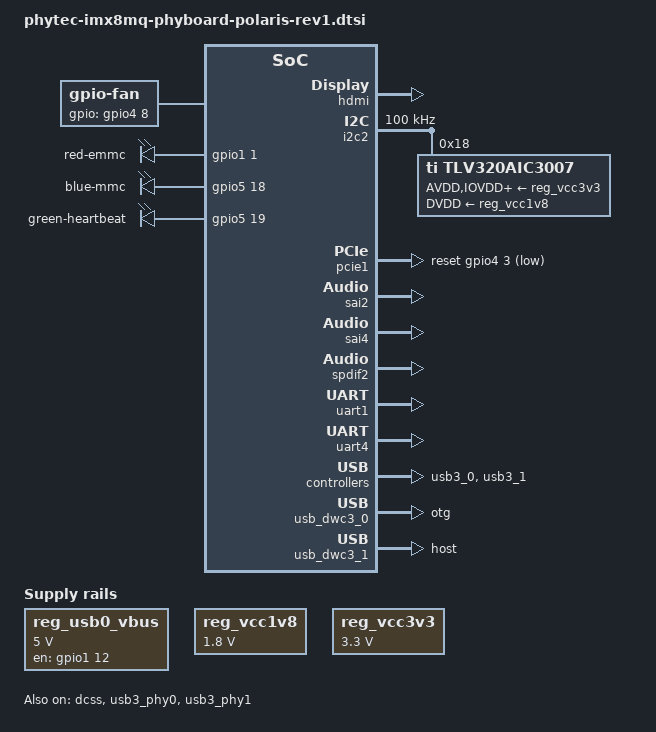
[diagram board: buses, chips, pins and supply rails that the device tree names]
/*
 * Copyright (C) 2018 PHYTEC Messtechnik GmbH
 * Author: Christian Hemp <c.hemp@phytec.de>
 *
 * This program is free software; you can redistribute it and/or
 * modify it under the terms of the GNU General Public License
 * as published by the Free Software Foundation; either version 2
 * of the License, or (at your option) any later version.
 *
 * This program is distributed in the hope that it will be useful,
 * but WITHOUT ANY WARRANTY; without even the implied warranty of
 * MERCHANTABILITY or FITNESS FOR A PARTICULAR PURPOSE.  See the
 * GNU General Public License for more details.
 */

/ {
	fan: gpio_fan {
		compatible = "gpio-fan";
		gpios =  <&gpio4 8 GPIO_ACTIVE_HIGH>;
		gpio-fan,speed-map = <0     0
				      13000 1>;
		#cooling-cells = <2>;
	};

	leds {
		compatible = "gpio-leds";
		pinctrl-names = "default";
		pinctrl-0 = <&pinctrl_leds>;

		led-red {
			label = "red-emmc";
			gpios = <&gpio1 1 GPIO_ACTIVE_HIGH>;
			linux,default-trigger = "mmc0";
		};

		led-blue {
			label = "blue-mmc";
			gpios = <&gpio5 18 GPIO_ACTIVE_HIGH>;
			linux,default-trigger = "mmc1";
		};

		led-green {
			label = "green-heartbeat";
			gpios = <&gpio5 19 GPIO_ACTIVE_HIGH>;
			linux,default-trigger = "heartbeat";
		};
	};

	reg_usb0_vbus: usb0-vbus {
		compatible = "regulator-fixed";
		regulator-name = "usb0-vbus";
		regulator-min-microvolt = <5000000>;
		regulator-max-microvolt = <5000000>;
		enable-active-high;
		pinctrl-names = "default";
		pinctrl-0 = <&pinctrl_usb0_vbusen>;
		gpio = <&gpio1 12 GPIO_ACTIVE_HIGH>;
		status = "okay";
	};

	reg_vcc1v8: vcc1v8 {
		compatible = "regulator-fixed";
		regulator-name = "vcc1v8";
		regulator-min-microvolt = <1800000>;
		regulator-max-microvolt = <1800000>;
		regulator-always-on;
	};

	reg_vcc3v3: vcc3v3 {
		compatible = "regulator-fixed";
		regulator-name = "vcc3v3";
		regulator-min-microvolt = <3300000>;
		regulator-max-microvolt = <3300000>;
		regulator-always-on;
	};

	thermal-zones {
		/* fan thermal */
		fan-thermal {
			polling-delay-passive = <250>;
			polling-delay = <2000>;
			thermal-sensors = <&tmu 1>;
			trips {
				fan_fan0: trip0 {
				temperature = <70000>;
				hysteresis = <5000>;
				type = "active";
				};
			};

			cooling-maps {
				map0 {
					trip = <&fan_fan0>;
					cooling-device =
						<&fan
						 THERMAL_NO_LIMIT
						 THERMAL_NO_LIMIT>;
				};
			};
		};
	};

	sound {
		compatible = "simple-audio-card";
		simple-audio-card,name = "TLV320AIC3007";
		simple-audio-card,format = "i2s";
		simple-audio-card,bitclock-master = <&dailink_master>;
		simple-audio-card,frame-master = <&dailink_master>;
		simple-audio-card,widgets =
				"Microphone", "Mic Jack",
				"Line", "Line In",
				"Line", "Line Out",
				"Speaker", "Speaker",
				"Headphone", "Headphone Jack";
		simple-audio-card,routing =
				"Line Out", "LLOUT",
				"Line Out", "RLOUT",
				"Speaker", "SPOP",
				"Speaker", "SPOM",
				"Headphone Jack", "HPLOUT",
				"Headphone Jack", "HPROUT",
				"MIC3L", "Mic Jack",
				"MIC3R", "Mic Jack",
				"Mic Jack", "Mic Bias",
				"LINE1L", "Line In",
				"LINE1R", "Line In";
		status = "okay";

		dailink_master: simple-audio-card,cpu {
				sound-dai = <&sai2>;
		};
		simple-audio-card,codec {
				sound-dai = <&tlv320aic3007>;
		};
	};

	sound-hdmi {
		compatible = "fsl,imx8mq-evk-cdnhdmi",
				"fsl,imx-audio-cdnhdmi";
		model = "imx-audio-hdmi";
		audio-cpu = <&sai4>;
		protocol = <1>;
		hdmi-out;
		constraint-rate = <44100>,
				<88200>,
				<176400>,
				<32000>,
				<48000>,
				<96000>,
				<192000>;
	};

	sound-hdmi-arc {
		compatible = "fsl,imx-audio-spdif";
		model = "imx-hdmi-arc";
		spdif-controller = <&spdif2>;
		spdif-in;
	};
};

&clk {
	assigned-clocks = <&clk IMX8MQ_AUDIO_PLL1>, <&clk IMX8MQ_AUDIO_PLL2>;
	assigned-clock-rates = <786432000>, <722534400>;
};

&dcss {
	disp-dev = "hdmi_disp";
	status = "okay";
};

&hdmi {
	status = "okay";
};

&i2c2 {
	clock-frequency = <100000>;
	pinctrl-names = "default";
	pinctrl-0 = <&pinctrl_i2c2>;
	status = "okay";

	tlv320aic3007: tlv320aic3007@18 {
			compatible = "ti,tlv320aic3007";
			#sound-dai-cells = <0>;
			reg = <0x18>;
			clocks = <&clk IMX8MQ_SYS2_PLL_50M>;
			AVDD-supply = <&reg_vcc3v3>;
			IOVDD-supply = <&reg_vcc3v3>;
			DRVDD-supply = <&reg_vcc3v3>;
			DVDD-supply = <&reg_vcc1v8>;
	};

};

&pcie1 {
	pinctrl-names = "default";
	pinctrl-0 = <&pinctrl_pcie1>;
	clkreq-gpio = <&gpio4 2 GPIO_ACTIVE_LOW>;
	reset-gpio = <&gpio4 3 GPIO_ACTIVE_LOW>;
	ext_osc = <1>;
	status = "okay";
};

&sai2 {
	pinctrl-names = "default";
	#sound-dai-cells = <0>;
	pinctrl-0 = <&pinctrl_sai2>;
	assigned-clocks = <&clk IMX8MQ_CLK_SAI2>;
	assigned-clock-parents = <&clk IMX8MQ_AUDIO_PLL1_OUT>;
	assigned-clock-rates = <49152000>;
	clocks = <&clk IMX8MQ_CLK_SAI2_IPG>, <&clk IMX8MQ_CLK_DUMMY>,
		<&clk IMX8MQ_CLK_SAI2_ROOT>, <&clk IMX8MQ_CLK_DUMMY>,
		<&clk IMX8MQ_CLK_DUMMY>, <&clk IMX8MQ_AUDIO_PLL1_OUT>,
		<&clk IMX8MQ_AUDIO_PLL2_OUT>;
	clock-names = "bus", "mclk0", "mclk1", "mclk2", "mclk3", "pll8k", "pll11k";
	status = "okay";
};

&sai4 {
	assigned-clocks = <&clk IMX8MQ_CLK_SAI4>;
	assigned-clock-parents = <&clk IMX8MQ_AUDIO_PLL1_OUT>;
	assigned-clock-rates = <24576000>;
	clocks = <&clk IMX8MQ_CLK_SAI4_IPG>, <&clk IMX8MQ_CLK_DUMMY>,
		<&clk IMX8MQ_CLK_SAI4_ROOT>, <&clk IMX8MQ_CLK_DUMMY>,
		<&clk IMX8MQ_CLK_DUMMY>, <&clk IMX8MQ_AUDIO_PLL1_OUT>,
		<&clk IMX8MQ_AUDIO_PLL2_OUT>;
	clock-names = "bus", "mclk0", "mclk1", "mclk2", "mclk3", "pll8k", "pll11k";
	status = "okay";
};

&spdif2 {
	assigned-clocks = <&clk IMX8MQ_CLK_SPDIF2>;
	assigned-clock-parents = <&clk IMX8MQ_AUDIO_PLL1_OUT>;
	assigned-clock-rates = <24576000>;
	status = "okay";
};

&uart1 {
	pinctrl-names = "default";
	pinctrl-0 = <&pinctrl_uart1>;
	assigned-clocks = <&clk IMX8MQ_CLK_UART1>;
	assigned-clock-parents = <&clk IMX8MQ_CLK_25M>;
	status = "okay";
};

&uart4 {
	pinctrl-names = "default";
	pinctrl-0 = <&pinctrl_uart4>;
	uart-has-rtscts;
	status = "okay";
};

&usb3_phy0 {
	vbus-supply = <&reg_usb0_vbus>;
	status = "okay";
};

&usb3_0 {
	status = "okay";
};

&usb_dwc3_0 {
	dr_mode = "otg";
	status = "okay";
};

&usb3_phy1 {
	status = "okay";
};

&usb3_1 {
	status = "okay";
};

&usb_dwc3_1 {
	status = "okay";
	dr_mode = "host";
};

&iomuxc {
	imx8mq-polaris {
		pinctrl_usb0_vbusen: usb0vengrp {
			fsl,pins = <
				MX8MQ_IOMUXC_GPIO1_IO12_GPIO1_IO12	0x16
			>;
		};

		pinctrl_i2c2: i2c2grp {
			fsl,pins = <
				MX8MQ_IOMUXC_I2C2_SCL_I2C2_SCL		0x4000007f
				MX8MQ_IOMUXC_I2C2_SDA_I2C2_SDA		0x4000007f
			>;
		};

		pinctrl_leds: leds1grp {
			fsl,pins = <
				MX8MQ_IOMUXC_GPIO1_IO01_GPIO1_IO1	0x16
				MX8MQ_IOMUXC_I2C3_SCL_GPIO5_IO18	0x16
				MX8MQ_IOMUXC_I2C3_SDA_GPIO5_IO19	0x16
			>;
		};

		pinctrl_pcie1: pcie1grp {
			fsl,pins = <
				MX8MQ_IOMUXC_SAI1_RXD0_GPIO4_IO2	0x16
				MX8MQ_IOMUXC_SAI1_RXD1_GPIO4_IO3	0x16
			>;
		};

		pinctrl_sai2: sai2grp {
			fsl,pins = <
				MX8MQ_IOMUXC_SAI2_MCLK_SAI2_MCLK	0xd6
				MX8MQ_IOMUXC_SAI2_TXFS_SAI2_TX_SYNC	0xd6
				MX8MQ_IOMUXC_SAI2_TXC_SAI2_TX_BCLK	0xd6
				MX8MQ_IOMUXC_SAI2_TXD0_SAI2_TX_DATA0	0xd6
				MX8MQ_IOMUXC_SAI2_RXFS_SAI2_RX_SYNC	0xd6
				MX8MQ_IOMUXC_SAI2_RXC_SAI2_RX_BCLK	0xd6
				MX8MQ_IOMUXC_SAI2_RXD0_SAI2_RX_DATA0	0xd6
			>;
		};

		pinctrl_uart1: uart1grp {
			fsl,pins = <
				MX8MQ_IOMUXC_UART1_RXD_UART1_DCE_RX	0x49
				MX8MQ_IOMUXC_UART1_TXD_UART1_DCE_TX	0x49
			>;
		};

		pinctrl_uart4: uart4grp {
			fsl,pins = <
				MX8MQ_IOMUXC_ECSPI2_MOSI_UART4_DCE_TX		0x49
				MX8MQ_IOMUXC_ECSPI2_SCLK_UART4_DCE_RX		0x49
				MX8MQ_IOMUXC_ECSPI2_SS0_UART4_DCE_RTS_B		0x49
				MX8MQ_IOMUXC_ECSPI2_MISO_UART4_DCE_CTS_B	0x49
			>;
		};
	};
};
